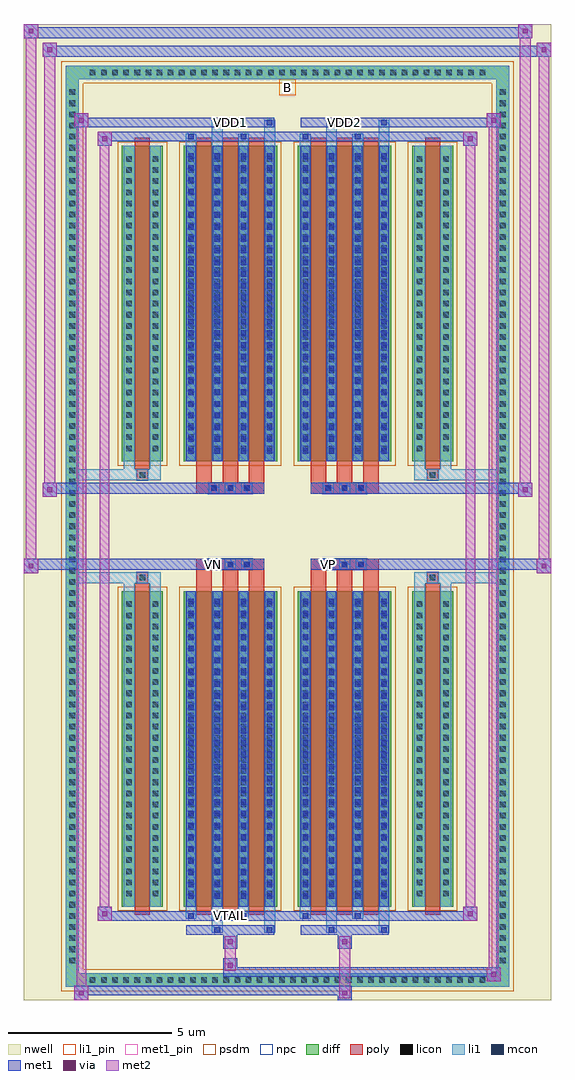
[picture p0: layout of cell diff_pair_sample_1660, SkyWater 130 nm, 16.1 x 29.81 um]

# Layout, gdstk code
import gdstk
lib = gdstk.Library(unit=1e-6, precision=5e-09)
def R(c, l, rs):  # rectangles x0, y0, x1, y1
    for r in rs: c.add(gdstk.rectangle(r[:2], r[2:], *l))
def A(c, l, x, y, w, h, nx, ny, dx, dy):  # array of equal rectangles
    R(c, l, [(x+i*dx, y+j*dy, x+i*dx+w, y+j*dy+h) for i in range(nx) for j in range(ny)])
def P(c, l, *ps):  # polygons
    for p in ps: c.add(gdstk.Polygon(p, *l))
nwell = (64, 20)
diff = (65, 20)
poly = (66, 20)
licon = (66, 44)
li1_pin = (67, 16)
li1 = (67, 20)
mcon = (67, 44)
met1_pin = (68, 16)
met1 = (68, 20)
via = (68, 44)
met2 = (69, 20)
psdm = (94, 20)
npc = (95, 20)

diff_pair_sample_1660 = lib.new_cell('diff_pair_sample_1660')
R(diff_pair_sample_1660, nwell, [(-8.05,-14.47,8.05,15.34), (-5.37,-12.66,-0.01,-0.8), (0.01,-12.66,5.37,-0.8), (-5.37,0.8,-0.01,12.66), (0.01,0.8,5.37,12.66)])
A(diff_pair_sample_1660, diff, -6.155, -14.07, 0.41, 0.41, 36, 2, 0.34, 27.73)
A(diff_pair_sample_1660, diff, -6.78, -13.465, 0.41, 0.41, 1, 79, 0, 0.34)
A(diff_pair_sample_1660, diff, 6.37, -13.465, 0.41, 0.41, 1, 79, 0, 0.34)
R(diff_pair_sample_1660, diff, [(-6.155,-14.07,6.155,-13.66), (-6.78,-13.465,-6.37,13.465), (6.37,-13.465,6.78,13.465), (-5.06,-11.615,-3.81,-1.985), (-3.17,-11.615,-0.32,-1.985), (0.32,-11.615,3.17,-1.985), (3.81,-11.615,5.06,-1.985), (-5.06,1.985,-3.81,11.615), (-3.17,1.985,-0.32,11.615), (0.32,1.985,3.17,11.615), (3.81,1.985,5.06,11.615), (-6.155,13.66,6.155,14.07)])
P(diff_pair_sample_1660, diff, [(6.78,14.07),(-6.78,14.07),(-6.78,-13.66),(-6.37,-13.66),(-6.37,13.66),(6.37,13.66),(6.37,-13.66),(-6.37,-13.66),(-6.78,-13.66),(-6.78,-14.07),(6.78,-14.07)])
A(diff_pair_sample_1660, poly, -2.78, -11.865, 0.47, 10.13, 3, 2, 0.8, 13.6)
A(diff_pair_sample_1660, poly, 0.71, -11.865, 0.47, 10.13, 3, 2, 0.8, 13.6)
A(diff_pair_sample_1660, poly, -2.78, -1.735, 0.47, 0.405, 3, 2, 0.8, 3.065)
A(diff_pair_sample_1660, poly, 0.71, -1.735, 0.47, 0.405, 3, 2, 0.8, 3.065)
A(diff_pair_sample_1660, poly, -2.41, -1.33, 0.33, 0.33, 3, 2, 0.5, 2.33)
A(diff_pair_sample_1660, poly, 1.08, -1.33, 0.33, 0.33, 3, 2, 0.5, 2.33)
R(diff_pair_sample_1660, poly, [(-4.67,-11.865,-4.2,-1.735), (4.2,-11.865,4.67,-1.735), (-4.6,-1.735,-4.27,-1.405), (-4.6,-1.735,-4.27,-1.405), (4.27,-1.735,4.6,-1.405), (4.27,-1.735,4.6,-1.405), (-2.78,-1.33,-0.71,-1), (0.71,-1.33,2.78,-1), (-2.78,1,-0.71,1.33), (0.71,1,2.78,1.33), (-4.6,1.405,-4.27,1.735), (-4.6,1.405,-4.27,1.735), (4.27,1.405,4.6,1.735), (4.27,1.405,4.6,1.735), (-4.67,1.735,-4.2,11.865), (4.2,1.735,4.67,11.865)])
A(diff_pair_sample_1660, licon, -6.035, -13.95, 0.17, 0.17, 36, 2, 0.34, 27.73)
A(diff_pair_sample_1660, licon, -6.66, -13.345, 0.17, 0.17, 1, 79, 0, 0.34)
A(diff_pair_sample_1660, licon, 6.49, -13.345, 0.17, 0.17, 1, 79, 0, 0.34)
A(diff_pair_sample_1660, licon, -4.92, -11.305, 0.17, 0.17, 1, 27, 0, 0.34)
A(diff_pair_sample_1660, licon, -4.12, -11.305, 0.17, 0.17, 1, 27, 0, 0.34)
A(diff_pair_sample_1660, licon, -3.03, -11.305, 0.17, 0.17, 4, 27, 0.8, 0.34)
A(diff_pair_sample_1660, licon, 0.46, -11.305, 0.17, 0.17, 4, 27, 0.8, 0.34)
A(diff_pair_sample_1660, licon, 3.95, -11.305, 0.17, 0.17, 1, 27, 0, 0.34)
A(diff_pair_sample_1660, licon, 4.75, -11.305, 0.17, 0.17, 1, 27, 0, 0.34)
A(diff_pair_sample_1660, licon, -2.33, -1.25, 0.17, 0.17, 3, 2, 0.5, 2.33)
A(diff_pair_sample_1660, licon, 1.16, -1.25, 0.17, 0.17, 3, 2, 0.5, 2.33)
A(diff_pair_sample_1660, licon, -4.92, 2.295, 0.17, 0.17, 1, 27, 0, 0.34)
A(diff_pair_sample_1660, licon, -4.12, 2.295, 0.17, 0.17, 1, 27, 0, 0.34)
A(diff_pair_sample_1660, licon, -3.03, 2.295, 0.17, 0.17, 4, 27, 0.8, 0.34)
A(diff_pair_sample_1660, licon, 0.46, 2.295, 0.17, 0.17, 4, 27, 0.8, 0.34)
A(diff_pair_sample_1660, licon, 3.95, 2.295, 0.17, 0.17, 1, 27, 0, 0.34)
A(diff_pair_sample_1660, licon, 4.75, 2.295, 0.17, 0.17, 1, 27, 0, 0.34)
R(diff_pair_sample_1660, licon, [(-4.52,-1.655,-4.35,-1.485), (4.35,-1.655,4.52,-1.485), (-4.52,1.485,-4.35,1.655), (4.35,1.485,4.52,1.655)])
R(diff_pair_sample_1660, li1_pin, [(-0.25,13.16,0.25,13.66)])
A(diff_pair_sample_1660, li1, -6.115, -14.03, 0.33, 0.33, 36, 2, 0.34, 27.73)
A(diff_pair_sample_1660, li1, -6.74, -13.425, 0.33, 0.33, 1, 79, 0, 0.34)
A(diff_pair_sample_1660, li1, 6.41, -13.425, 0.33, 0.33, 1, 79, 0, 0.34)
A(diff_pair_sample_1660, li1, -3.11, -11.615, 0.33, 9.63, 4, 2, 0.8, 13.6)
A(diff_pair_sample_1660, li1, 0.38, -11.615, 0.33, 9.63, 4, 2, 0.8, 13.6)
A(diff_pair_sample_1660, li1, -5, -11.385, 0.33, 0.33, 1, 27, 0, 0.34)
A(diff_pair_sample_1660, li1, -4.2, -11.385, 0.33, 0.33, 1, 27, 0, 0.34)
A(diff_pair_sample_1660, li1, -3.11, -11.385, 0.33, 0.33, 4, 27, 0.8, 0.34)
A(diff_pair_sample_1660, li1, -3.03, -11.385, 0.17, 0.17, 4, 26, 0.8, 0.36)
A(diff_pair_sample_1660, li1, -3.03, -11.385, 0.17, 9.17, 4, 2, 0.8, 13.6)
A(diff_pair_sample_1660, li1, 0.38, -11.385, 0.33, 0.33, 4, 27, 0.8, 0.34)
A(diff_pair_sample_1660, li1, 0.46, -11.385, 0.17, 0.17, 4, 26, 0.8, 0.36)
A(diff_pair_sample_1660, li1, 0.46, -11.385, 0.17, 9.17, 4, 2, 0.8, 13.6)
A(diff_pair_sample_1660, li1, 3.87, -11.385, 0.33, 0.33, 1, 27, 0, 0.34)
A(diff_pair_sample_1660, li1, 4.67, -11.385, 0.33, 0.33, 1, 27, 0, 0.34)
A(diff_pair_sample_1660, li1, -2.41, -1.33, 0.33, 0.33, 3, 2, 0.5, 2.33)
A(diff_pair_sample_1660, li1, 1.08, -1.33, 0.33, 0.33, 3, 2, 0.5, 2.33)
A(diff_pair_sample_1660, li1, -5, 2.215, 0.33, 0.33, 1, 27, 0, 0.34)
A(diff_pair_sample_1660, li1, -4.2, 2.215, 0.33, 0.33, 1, 27, 0, 0.34)
A(diff_pair_sample_1660, li1, -3.11, 2.215, 0.33, 0.33, 4, 27, 0.8, 0.34)
A(diff_pair_sample_1660, li1, -3.03, 2.215, 0.17, 0.17, 4, 26, 0.8, 0.36)
A(diff_pair_sample_1660, li1, 0.38, 2.215, 0.33, 0.33, 4, 27, 0.8, 0.34)
A(diff_pair_sample_1660, li1, 0.46, 2.215, 0.17, 0.17, 4, 26, 0.8, 0.36)
A(diff_pair_sample_1660, li1, 3.87, 2.215, 0.33, 0.33, 1, 27, 0, 0.34)
A(diff_pair_sample_1660, li1, 4.67, 2.215, 0.33, 0.33, 1, 27, 0, 0.34)
R(diff_pair_sample_1660, li1, [(-6.78,-14.07,-6.37,-13.66), (-6.78,-14.07,-6.37,-13.66), (-6.37,-14.07,6.37,-13.66), (6.37,-14.07,6.78,-13.66), (6.37,-14.07,6.78,-13.66), (-6.78,-13.66,-6.37,13.66), (6.37,-13.66,6.78,13.66), (-2.31,-12.42,-1.98,-11.615), (-2.23,-12.42,-2.06,-12.25), (-0.71,-12.42,-0.38,-11.615), (-0.63,-12.42,-0.46,-12.25), (1.18,-12.42,1.51,-11.615), (1.26,-12.42,1.43,-12.25), (2.78,-12.42,3.11,-11.615), (2.86,-12.42,3.03,-12.25), (-3.11,-11.99,-2.78,-11.615), (-3.03,-11.99,-2.86,-11.82), (-1.51,-11.99,-1.18,-11.615), (-1.43,-11.99,-1.26,-11.82), (0.38,-11.99,0.71,-11.615), (0.46,-11.99,0.63,-11.82), (1.98,-11.99,2.31,-11.615), (2.06,-11.99,2.23,-11.82), (-5,-11.615,-4.67,-1.985), (-4.2,-11.615,-3.87,-1.985), (3.87,-11.615,4.2,-1.985), (4.67,-11.615,5,-1.985), (-5,-1.985,-4.67,-1.405), (-4.2,-1.985,-3.87,-1.405), (3.87,-1.985,4.2,-1.405), (4.67,-1.985,5,-1.405), (-6.78,-1.735,-4.6,-1.405), (-5,-1.735,-4.6,-1.405), (-4.6,-1.735,-4.27,-1.405), (-4.27,-1.735,-3.87,-1.405), (3.87,-1.735,4.27,-1.405), (4.27,-1.735,4.6,-1.405), (4.27,-1.735,6.78,-1.405), (4.6,-1.735,5,-1.405), (-6.78,1.405,-4.6,1.735), (-5,1.405,-4.6,1.735), (-5,1.405,-4.67,1.985), (-4.6,1.405,-4.27,1.735), (-4.27,1.405,-3.87,1.735), (-4.2,1.405,-3.87,1.985), (3.87,1.405,4.27,1.735), (3.87,1.405,4.2,1.985), (4.27,1.405,4.6,1.735), (4.27,1.405,6.78,1.735), (4.6,1.405,5,1.735), (4.67,1.405,5,1.985), (-5,1.985,-4.67,11.615), (-4.2,1.985,-3.87,11.615), (3.87,1.985,4.2,11.615), (4.67,1.985,5,11.615), (-3.11,11.615,-2.78,11.99), (-2.31,11.615,-1.98,12.42), (-1.51,11.615,-1.18,11.99), (-0.71,11.615,-0.38,12.42), (0.38,11.615,0.71,11.99), (1.18,11.615,1.51,12.42), (1.98,11.615,2.31,11.99), (2.78,11.615,3.11,12.42), (-3.03,11.82,-2.86,11.99), (-1.43,11.82,-1.26,11.99), (0.46,11.82,0.63,11.99), (2.06,11.82,2.23,11.99), (-2.23,12.25,-2.06,12.42), (-0.63,12.25,-0.46,12.42), (1.26,12.25,1.43,12.42), (2.86,12.25,3.03,12.42), (-6.78,13.66,-6.37,14.07), (-6.78,13.66,-6.37,14.07), (-6.37,13.66,6.37,14.07), (6.37,13.66,6.78,14.07), (6.37,13.66,6.78,14.07)])
A(diff_pair_sample_1660, mcon, -3.03, -11.385, 0.17, 0.17, 4, 26, 0.8, 0.36)
A(diff_pair_sample_1660, mcon, 0.46, -11.385, 0.17, 0.17, 4, 26, 0.8, 0.36)
A(diff_pair_sample_1660, mcon, -2.33, -1.25, 0.17, 0.17, 3, 2, 0.5, 2.33)
A(diff_pair_sample_1660, mcon, 1.16, -1.25, 0.17, 0.17, 3, 2, 0.5, 2.33)
A(diff_pair_sample_1660, mcon, -3.03, 2.215, 0.17, 0.17, 4, 26, 0.8, 0.36)
A(diff_pair_sample_1660, mcon, 0.46, 2.215, 0.17, 0.17, 4, 26, 0.8, 0.36)
R(diff_pair_sample_1660, mcon, [(-2.23,-12.42,-2.06,-12.25), (-0.63,-12.42,-0.46,-12.25), (1.26,-12.42,1.43,-12.25), (2.86,-12.42,3.03,-12.25), (-3.03,-11.99,-2.86,-11.82), (-1.43,-11.99,-1.26,-11.82), (0.46,-11.99,0.63,-11.82), (2.06,-11.99,2.23,-11.82), (-3.03,11.82,-2.86,11.99), (-1.43,11.82,-1.26,11.99), (0.46,11.82,0.63,11.99), (2.06,11.82,2.23,11.99), (-2.23,12.25,-2.06,12.42), (-0.63,12.25,-0.46,12.42), (1.26,12.25,1.43,12.42), (2.86,12.25,3.03,12.42)])
R(diff_pair_sample_1660, met1_pin, [(-1.88,-12.03,-1.61,-11.76), (-2.38,-1.29,-2.11,-1.02), (1.11,-1.29,1.38,-1.02), (-1.88,12.21,-1.61,12.48), (1.61,12.21,1.88,12.48)])
A(diff_pair_sample_1660, met1, -3.09, -11.615, 0.29, 9.63, 4, 2, 0.8, 13.6)
A(diff_pair_sample_1660, met1, 0.4, -11.615, 0.29, 9.63, 4, 2, 0.8, 13.6)
A(diff_pair_sample_1660, met1, -3.09, -11.445, 0.29, 0.29, 4, 26, 0.8, 0.36)
A(diff_pair_sample_1660, met1, 0.4, -11.445, 0.29, 0.29, 4, 26, 0.8, 0.36)
A(diff_pair_sample_1660, met1, -2.39, -1.31, 0.29, 0.29, 3, 2, 0.5, 2.33)
A(diff_pair_sample_1660, met1, 1.1, -1.31, 0.29, 0.29, 3, 2, 0.5, 2.33)
A(diff_pair_sample_1660, met1, -3.09, 2.155, 0.29, 0.29, 4, 26, 0.8, 0.36)
A(diff_pair_sample_1660, met1, 0.4, 2.155, 0.29, 0.29, 4, 26, 0.8, 0.36)
R(diff_pair_sample_1660, met1, [(-6.51,-14.47,-6.08,-14.04), (1.53,-14.47,1.96,-14.04), (-6.51,-14.33,1.96,-14.04), (6.08,-13.9,6.51,-13.47), (-1.96,-13.76,6.51,-13.47), (-1.96,-13.62,-1.53,-13.19), (-1.96,-12.91,-1.53,-12.48), (1.53,-12.91,1.96,-12.48), (-3.09,-12.48,-0.4,-12.19), (-2.29,-12.48,-2,-12.19), (-0.69,-12.48,-0.4,-12.19), (0.4,-12.48,3.09,-12.19), (1.2,-12.48,1.49,-12.19), (2.8,-12.48,3.09,-12.19), (-5.8,-12.05,-5.37,-11.62), (-5.8,-12.05,-3.09,-11.76), (-3.09,-12.05,-2.8,-11.76), (-3.09,-12.05,-0.4,-11.76), (-1.49,-12.05,-1.2,-11.76), (-0.4,-12.05,0.4,-11.76), (0.4,-12.05,0.69,-11.76), (0.4,-12.05,3.09,-11.76), (2,-12.05,2.29,-11.76), (3.09,-12.05,5.8,-11.76), (5.37,-12.05,5.8,-11.62), (-8.05,-1.43,-7.62,-1), (7.62,-1.43,8.05,-1), (-8.05,-1.33,-0.71,-1), (-2.78,-1.33,-0.71,-1), (0.71,-1.33,2.78,-1), (0.71,-1.33,8.05,-1), (-7.48,0.9,-7.05,1.33), (7.05,0.9,7.48,1.33), (-7.48,1,-2.78,1.33), (-2.78,1,-0.71,1.33), (0.71,1,2.78,1.33), (2.78,1,7.48,1.33), (-5.8,11.62,-5.37,12.05), (5.37,11.62,5.8,12.05), (-5.8,11.76,-3.09,12.05), (-3.09,11.76,-2.8,12.05), (-3.09,11.76,-0.4,12.05), (-1.49,11.76,-1.2,12.05), (-0.4,11.76,0.4,12.05), (0.4,11.76,0.69,12.05), (0.4,11.76,3.09,12.05), (2,11.76,2.29,12.05), (3.09,11.76,5.8,12.05), (-6.51,12.19,-6.08,12.62), (-6.51,12.19,-3.09,12.48), (-3.09,12.19,-0.4,12.48), (-2.29,12.19,-2,12.48), (-0.69,12.19,-0.4,12.48), (0.4,12.19,3.09,12.48), (1.2,12.19,1.49,12.48), (2.8,12.19,3.09,12.48), (3.09,12.19,6.51,12.48), (6.08,12.19,6.51,12.62), (-7.48,14.34,-7.05,14.77), (-7.48,14.34,-5.37,14.67), (-5.37,14.34,5.37,14.67), (5.37,14.34,8.05,14.67), (7.62,14.34,8.05,14.77), (-8.05,14.91,-7.62,15.34), (-8.05,14.91,-5.37,15.24), (-5.37,14.91,5.37,15.24), (5.37,14.91,7.48,15.24), (7.05,14.91,7.48,15.34)])
R(diff_pair_sample_1660, via, [(-6.37,-14.33,-6.22,-14.18), (1.67,-14.33,1.82,-14.18), (6.22,-13.76,6.37,-13.61), (-1.82,-13.48,-1.67,-13.33), (-1.82,-12.77,-1.67,-12.62), (1.67,-12.77,1.82,-12.62), (-5.66,-11.91,-5.51,-11.76), (5.51,-11.91,5.66,-11.76), (-7.91,-1.29,-7.76,-1.14), (7.76,-1.29,7.91,-1.14), (-7.34,1.04,-7.19,1.19), (7.19,1.04,7.34,1.19), (-5.66,11.76,-5.51,11.91), (5.51,11.76,5.66,11.91), (-6.37,12.33,-6.22,12.48), (6.22,12.33,6.37,12.48), (-7.34,14.48,-7.19,14.63), (7.76,14.48,7.91,14.63), (-7.91,15.05,-7.76,15.2), (7.19,15.05,7.34,15.2)])
R(diff_pair_sample_1660, met2, [(-6.51,-14.47,-6.08,-14.04), (-6.44,-14.47,-6.15,12.62), (-6.15,-14.47,-6.08,-14.04), (-6.46,-14.42,-6.13,-14.09), (1.58,-14.42,1.91,-14.09), (1.58,-14.09,1.91,-12.86), (6.08,-13.9,6.51,-13.47), (6.15,-13.9,6.44,12.62), (6.44,-13.9,6.51,-13.47), (6.13,-13.85,6.46,-13.52), (-1.91,-13.57,-1.58,-13.24), (-1.91,-13.24,-1.58,-12.86), (-1.91,-12.86,-1.58,-12.53), (1.58,-12.86,1.91,-12.53), (-5.8,-12.05,-5.37,-11.62), (-5.73,-12.05,-5.44,12.05), (-5.44,-12.05,-5.37,-11.62), (5.37,-12.05,5.8,-11.62), (5.44,-12.05,5.73,12.05), (5.73,-12.05,5.8,-11.62), (-5.75,-12,-5.42,-11.67), (5.42,-12,5.75,-11.67), (-8.05,-1.43,-7.62,-1), (-8,-1.43,-7.67,15.34), (-7.67,-1.43,-7.62,-1), (7.62,-1.43,8.05,-1), (7.67,-1.43,8,14.77), (8,-1.43,8.05,-1), (-8,-1.38,-7.67,-1.05), (7.67,-1.38,8,-1.05), (-7.48,0.9,-7.05,1.33), (-7.43,0.9,-7.1,14.77), (-7.1,0.9,-7.05,1.33), (7.05,0.9,7.48,1.33), (7.1,0.9,7.43,15.34), (7.43,0.9,7.48,1.33), (-7.43,0.95,-7.1,1.28), (7.1,0.95,7.43,1.28), (-5.8,11.62,-5.37,12.05), (-5.44,11.62,-5.37,12.05), (5.37,11.62,5.8,12.05), (5.73,11.62,5.8,12.05), (-5.75,11.67,-5.42,12), (5.42,11.67,5.75,12), (-6.51,12.19,-6.08,12.62), (-6.15,12.19,-6.08,12.62), (6.08,12.19,6.51,12.62), (6.44,12.19,6.51,12.62), (-6.46,12.24,-6.13,12.57), (6.13,12.24,6.46,12.57), (-7.48,14.34,-7.05,14.77), (-7.1,14.34,-7.05,14.77), (7.62,14.34,8.05,14.77), (8,14.34,8.05,14.77), (-7.43,14.39,-7.1,14.72), (7.67,14.39,8,14.72), (-8.05,14.91,-7.62,15.34), (-7.67,14.91,-7.62,15.34), (7.05,14.91,7.48,15.34), (7.43,14.91,7.48,15.34), (-8,14.96,-7.67,15.29), (7.1,14.96,7.43,15.29)])
R(diff_pair_sample_1660, psdm, [(-5.19,-11.745,-3.68,-1.855), (-3.3,-11.745,-0.19,-1.855), (0.19,-11.745,3.3,-1.855), (3.68,-11.745,5.19,-1.855), (-5.19,1.855,-3.68,11.745), (-3.3,1.855,-0.19,11.745), (0.19,1.855,3.3,11.745), (3.68,1.855,5.19,11.745)])
P(diff_pair_sample_1660, psdm, [(6.91,14.2),(-6.91,14.2),(-6.91,-13.53),(-6.24,-13.53),(-6.24,13.53),(6.24,13.53),(6.24,-13.53),(-6.24,-13.53),(-6.91,-13.53),(-6.91,-14.2),(6.91,-14.2)])
A(diff_pair_sample_1660, npc, -2.43, -1.35, 0.37, 0.37, 3, 2, 0.5, 2.33)
A(diff_pair_sample_1660, npc, 1.06, -1.35, 0.37, 0.37, 3, 2, 0.5, 2.33)
R(diff_pair_sample_1660, npc, [(-4.62,-1.755,-4.25,-1.385), (4.25,-1.755,4.62,-1.385), (-2.43,-1.35,-1.56,-0.98), (-2.43,-1.35,-1.56,-0.98), (-1.93,-1.35,-1.06,-0.98), (-1.93,-1.35,-1.06,-0.98), (1.06,-1.35,1.93,-0.98), (1.06,-1.35,1.93,-0.98), (1.56,-1.35,2.43,-0.98), (1.56,-1.35,2.43,-0.98), (-2.43,0.98,-1.56,1.35), (-2.43,0.98,-1.56,1.35), (-1.93,0.98,-1.06,1.35), (-1.93,0.98,-1.06,1.35), (1.06,0.98,1.93,1.35), (1.06,0.98,1.93,1.35), (1.56,0.98,2.43,1.35), (1.56,0.98,2.43,1.35), (-4.62,1.385,-4.25,1.755), (4.25,1.385,4.62,1.755)])
diff_pair_sample_1660.add(gdstk.Label('VTAIL', (-1.745,-11.895), layer=68, texttype=5))
diff_pair_sample_1660.add(gdstk.Label('VN', (-2.245,-1.155), layer=68, texttype=5))
diff_pair_sample_1660.add(gdstk.Label('VP', (1.245,-1.155), layer=68, texttype=5))
diff_pair_sample_1660.add(gdstk.Label('B', (0,13.41), layer=67, texttype=5))
diff_pair_sample_1660.add(gdstk.Label('VDD2', (1.745,12.345), layer=68, texttype=5))
diff_pair_sample_1660.add(gdstk.Label('VDD1', (-1.745,12.345), layer=68, texttype=5))

lib.write_gds('diff_pair_sample_1660.gds')
